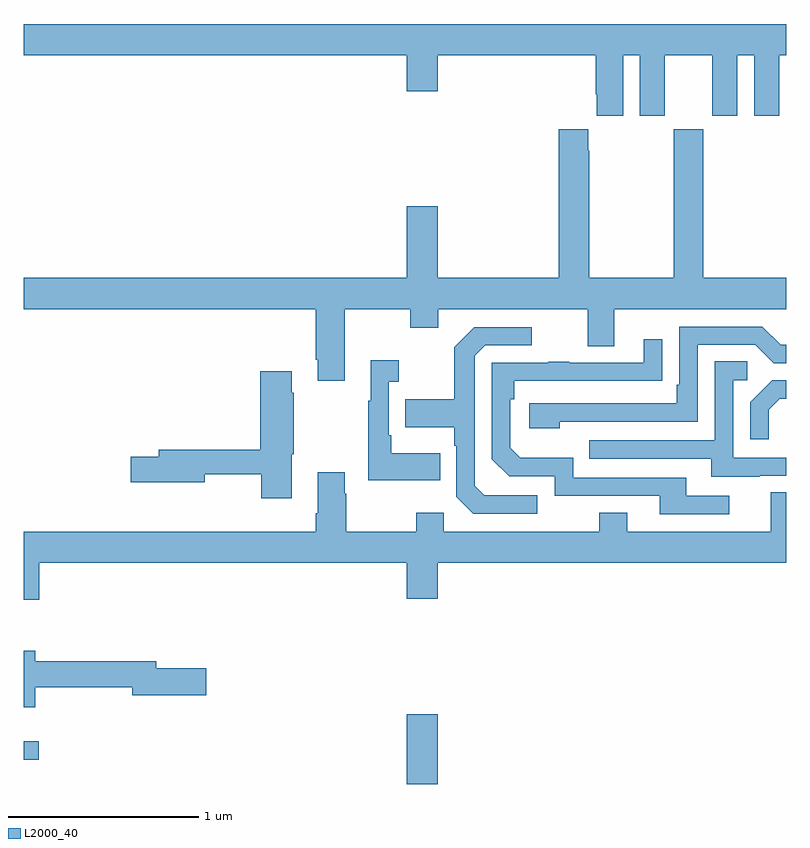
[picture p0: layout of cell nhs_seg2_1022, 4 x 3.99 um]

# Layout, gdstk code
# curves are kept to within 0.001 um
import gdstk
lib = gdstk.Library(unit=1e-6, precision=1e-09)
def R(c, l, rs):  # rectangles x0, y0, x1, y1
    for r in rs: c.add(gdstk.rectangle(r[:2], r[2:], *l))
def P(c, l, *ps):  # polygons
    for p in ps: c.add(gdstk.Polygon(p, *l))
L2000_40 = (2000, 40)

nhs_seg2_1022 = lib.new_cell('nhs_seg2_1022')
R(nhs_seg2_1022, L2000_40, [(165.008,655.8,165.172,656.167), (163,655.928,163.078,656.025)])
P(nhs_seg2_1022, L2000_40, [(166.144,659.624),(166.232,659.624),(166.232,659.307),(166.363,659.307),(166.363,659.624),(166.613,659.624),(166.613,659.307),(166.744,659.307),(166.744,659.624),(166.832,659.624),(166.832,659.307),(166.963,659.307),(166.963,659.624),(167,659.624),(167,659.788),(163,659.788),(163,659.624),(165.008,659.624),(165.008,659.436),(165.172,659.436),(165.172,659.624),(166.001,659.624),(166.001,659.419),(166.007,659.419),(166.007,659.307),(166.144,659.307)],
  [(164.683,658.292),(165.028,658.292),(165.028,658.193),(165.175,658.193),(165.175,658.292),(165.959,658.292),(165.959,658.098),(166.099,658.098),(166.099,658.292),(167,658.292),(167,658.456),(166.566,658.456),(166.566,659.236),(166.411,659.236),(166.411,658.456),(165.966,658.456),(165.966,659.123),(165.961,659.123),(165.961,659.236),(165.806,659.236),(165.806,658.456),(165.172,658.456),(165.172,658.831),(165.008,658.831),(165.008,658.456),(163,658.456),(163,658.292),(164.531,658.292),(164.531,658.027),(164.543,658.027),(164.543,657.915),(164.683,657.915)],
  [(165.812,657.702),(166.536,657.702),(166.536,658.104),(166.839,658.104),(166.935,658.008),(167,658.008),(167,658.104),(166.971,658.104),(166.875,658.2),(166.44,658.2),(166.44,657.895),(166.427,657.895),(166.427,657.798),(165.651,657.798),(165.651,657.668),(165.812,657.668)],
  [(165.694,657.315),(165.417,657.315),(165.366,657.366),(165.366,658.047),(165.42,658.101),(165.664,658.101),(165.664,658.197),(165.363,658.197),(165.258,658.091),(165.258,657.819),(165.001,657.819),(165.001,657.671),(165.258,657.671),(165.258,657.575),(165.27,657.575),(165.27,657.306),(165.357,657.219),(165.694,657.219)],
  [(166.702,657.312),(166.477,657.312),(166.477,657.408),(165.882,657.408),(165.882,657.511),(165.605,657.511),(165.552,657.564),(165.552,657.818),(165.572,657.818),(165.572,657.915),(166.349,657.916),(166.349,658.135),(166.253,658.135),(166.253,658.011),(165.863,658.011),(165.863,658.016),(165.751,658.016),(165.751,658.011),(165.456,658.011),(165.456,657.504),(165.546,657.414),(165.786,657.414),(165.786,657.312),(166.337,657.312),(166.337,657.216),(166.702,657.216)],
  [(165.185,657.535),(164.929,657.535),(164.929,657.631),(164.916,657.631),(164.916,657.911),(164.968,657.911),(164.968,658.024),(164.819,658.024),(164.819,657.811),(164.808,657.811),(164.808,657.395),(165.185,657.395)],
  [(166.861,657.417),(167,657.417),(167,657.513),(166.722,657.513),(166.722,657.918),(166.795,657.918),(166.795,658.019),(166.626,658.019),(166.626,657.603),(165.967,657.603),(165.967,657.507),(166.607,657.507),(166.607,657.413),(166.861,657.413)],
  [(164.407,657.531),(164.415,657.531),(164.415,657.854),(164.407,657.854),(164.407,657.967),(164.24,657.967),(164.24,657.554),(163.709,657.554),(163.709,657.518),(163.56,657.518),(163.56,657.383),(163.948,657.383),(163.948,657.426),(164.245,657.426),(164.245,657.3),(164.407,657.3)],
  [(166.909,657.765),(166.966,657.822),(167,657.822),(167,657.918),(166.928,657.918),(166.812,657.802),(166.812,657.609),(166.909,657.609)],
  [(163.082,656.96),(165.008,656.96),(165.008,656.772),(165.172,656.772),(165.172,656.96),(167,656.96),(167,657.332),(166.919,657.332),(166.919,657.124),(166.165,657.124),(166.165,657.223),(166.018,657.223),(166.018,657.124),(165.204,657.124),(165.204,657.223),(165.058,657.223),(165.058,657.124),(164.691,657.124),(164.691,657.323),(164.683,657.323),(164.683,657.436),(164.543,657.436),(164.543,657.22),(164.531,657.22),(164.531,657.124),(163,657.124),(163,656.766),(163.082,656.766)],
  [(163.06,656.308),(163.568,656.308),(163.568,656.266),(163.957,656.266),(163.957,656.408),(163.696,656.408),(163.696,656.444),(163.06,656.444),(163.06,656.5),(163,656.5),(163,656.204),(163.06,656.204)])

lib.write_gds('nhs_seg2_1022.gds')
